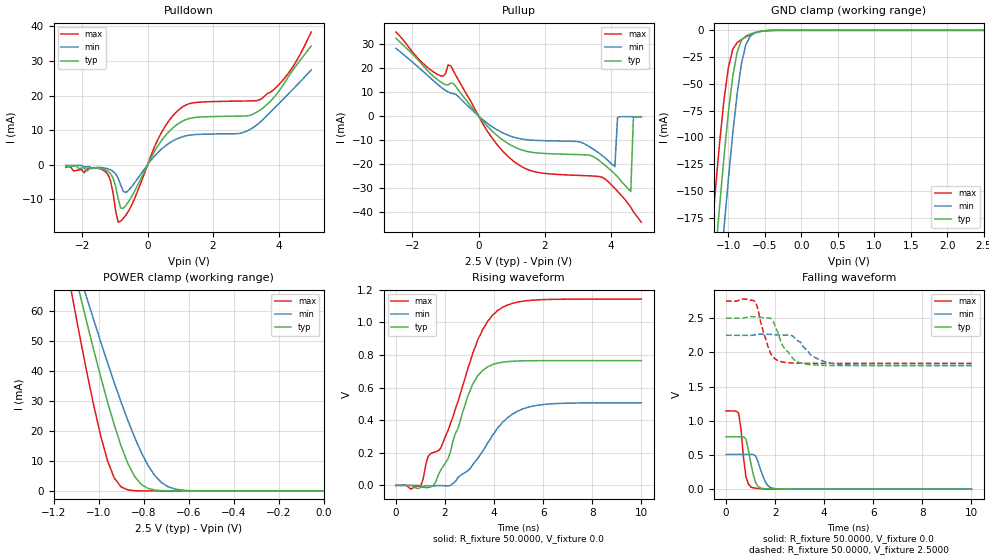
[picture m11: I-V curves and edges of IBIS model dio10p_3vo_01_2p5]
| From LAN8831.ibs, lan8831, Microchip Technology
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|   Model dio10p_3vo_01_2p5
[Model]  dio10p_3vo_01_2p5
Model_type I/O
Polarity   Non-Inverting
Enable   Active-Low
Vinl =   0.0V
Vinh =   2.5000V
Vmeas =  1.2500V
Vref =   0.0V
C_comp   5.0000pF   5.0000pF   5.0000pF
[Temperature Range]   42.0000   0.1250k   -40.0000
[Voltage Range]   2.5000V   2.2500V   2.7500V
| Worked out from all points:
|   slope of the pulldown table from 0 to 0.375 V, typ, clamps not added: 59.6 ohm
|   slope of the pullup table from 0 to 0.375 V, typ, clamps not added: 64.6 ohm
|   GND clamp passes 1 mA (typ) near -0.56 V on its own axis
|   POWER clamp passes 1 mA (typ) near -0.78 V on its own axis
|   rising waveform, R_fixture 50.0000, V_fixture 0.0: 20-80 % time 1.03ns typ, 1.47ns min, 1.58ns max; typ from 0 V to 0.766 V
|   falling waveform, R_fixture 50.0000, V_fixture 0.0: 20-80 % time 273ps typ, 309ps min, 200ps max; typ from 0.766 V to 0 V
|   falling waveform, R_fixture 50.0000, V_fixture 2.5000: 20-80 % time 621ps typ, 827ps min, 439ps max; typ from 2.5 V to 1.81 V
[Pulldown]
|Voltage   I(typ)   I(min)   I(max)
-2.5V     -454.3uA   -258.9uA   -809.5uA
-1.3V     -1.498mA   -1.015mA   -1.951mA
-1.06V    -3.791mA   -1.926mA   -8.008mA
-900mV    -9.898mA   -3.921mA   -16.67mA
-820mV    -12.59mA   -5.992mA   -16.37mA
-660mV    -11.77mA   -8.075mA   -14.58mA
300mV     5.214mA    3.376mA    6.983mA
860mV     11.31mA    7.284mA    15.05mA
2.86V     14.05mA    9.133mA    18.4mA
3.5V      16.19mA    12.8mA     19.19mA
4.3V      25.41mA    20.45mA    26.42mA
5V        34.36mA    27.4mA     38.36mA
[Pullup]
|Voltage   I(typ)   I(min)   I(max)
-2.5V     32.42mA    28.24mA    34.99mA
-1.32V    16.03mA    14.18mA    17.98mA
-1.08V    13.63mA    11.46mA    16.65mA
-840mV    13.75mA    9.534mA    20.91mA
280mV     -4.479mA   -3.187mA   -6.644mA
1.16V     -13.35mA   -9.153mA   -19.86mA
3.08V     -16.09mA   -10.89mA   -24.77mA
4.12V     -24.2mA    -21.08mA   -30.17mA
4.2V      -25.33mA   -672.7uA   -31.35mA
4.6V      -31.44mA   -257.5uA   -38mA
4.68V     -447.4uA   -258.6uA   -39.92mA
4.92V     -453.9uA   -261.7uA   -44.23mA
[GND_clamp]
|Voltage   I(typ)   I(min)   I(max)
-2.5V     -1.409A    -1.474A    -1.353A
-1.24V    -262.8mA   -333.8mA   -200mA
-1.18V    -212.5mA   -282.9mA   -150.8mA
-1.12V    -164mA     -233.2mA   -104.8mA
-1.06V    -118.1mA   -184.9mA   -64.73mA
-1V       -76.75mA   -139mA     -34.79mA
-940mV    -43.03mA   -96.44mA   -17.73mA
-880mV    -20.4mA    -59.4mA    -11.51mA
-760mV    -5.247mA   -13.29mA   -6.079mA
-640mV    -2.178mA   -2.509mA   -2.394mA
-460mV    -236uA     -335.7uA   -131.7uA
2.5V      692.1pA    14.9nA     505.2pA
[POWER_clamp]
|Voltage   I(typ)   I(min)   I(max)
-2.5V     547.8mA    446.2mA    680.6mA
-1.14V    83.4mA     85.78mA    74.17mA
-1.11V    73.93mA    78.35mA    62.02mA
-1.08V    64.61mA    71mA       50.18mA
-1.05V    55.45mA    63.74mA    38.78mA
-990mV    37.89mA    49.56mA    18.25mA
-930mV    21.95mA    36.04mA    4.29mA
-840mV    4.852mA    17.89mA    83.67uA
-780mV    836.4uA    8.492mA    4.55uA
-720mV    103.3uA    2.757mA    247.2nA
-600mV    1.373uA    116.5uA    2.375nA
0V        692.1pA    3.806nA    678pA
[Ramp]
| variable   typ   min   max
dV/dt_r  0.4595/1.0019n   0.3043/1.4944n   0.6861/1.6056n
dV/dt_f  0.4157/0.5756n   0.2646/0.7965n   0.5459/0.3939n
R_load = 50.0000
[Rising Waveform]
R_fixture= 50.0000
V_fixture= 0.0
V_fixture_min= 0.0
V_fixture_max= 0.0
|time   V(typ)   V(min)   V(max)
0s        261.3uV    146.9uV    445.3uV
1.01ns    -11.68mV   -4.129mV   -2.771mV
1.31ns    -1.725mV   -12.84mV   177.8mV
1.52ns    -1.845mV   -3.704mV   202.3mV
1.82ns    91.78mV    -345.9uV   227.5mV
2.12ns    164mV      -3.023mV   336.2mV
3.13ns    622.6mV    127.4mV    812.2mV
4.14ns    750.9mV    352.5mV    1.073V
5.76ns    765.5mV    491.7mV    1.139V
10ns      765.8mV    507.1mV    1.143V
[Falling Waveform]
R_fixture= 50.0000
V_fixture= 0.0
V_fixture_min= 0.0
V_fixture_max= 0.0
|time   V(typ)   V(min)   V(max)
0s        765.5mV    506.9mV    1.143V
510ps     765.3mV    507.1mV    1.115V
610ps     764.9mV    507mV      874.7mV
710ps     766.3mV    507mV      466.3mV
810ps     731.8mV    506.9mV    180mV
1.11ns    212.8mV    507.7mV    17.69mV
1.31ns    37.95mV    396.7mV    10.76mV
1.62ns    5.354mV    91.65mV    3.884mV
2.02ns    6.835mV    5.638mV    759.8uV
10ns      998.2nV    627.7nV    723.5nV
[Falling Waveform]
R_fixture= 50.0000
V_fixture= 2.5000
V_fixture_min= 2.2500
V_fixture_max= 2.7500
|time   V(typ)   V(min)   V(max)
0s        2.5V       2.25V      2.749V
810ps     2.51V      2.25V      2.779V
1.21ns    2.521V     2.258V     2.736V
1.52ns    2.507V     2.268V     2.301V
1.82ns    2.498V     2.263V     1.982V
2.32ns    2.089V     2.253V     1.857V
2.83ns    1.872V     2.2V       1.843V
3.43ns    1.821V     1.967V     1.841V
4.24ns    1.809V     1.843V     1.841V
10ns      1.807V     1.809V     1.84V
